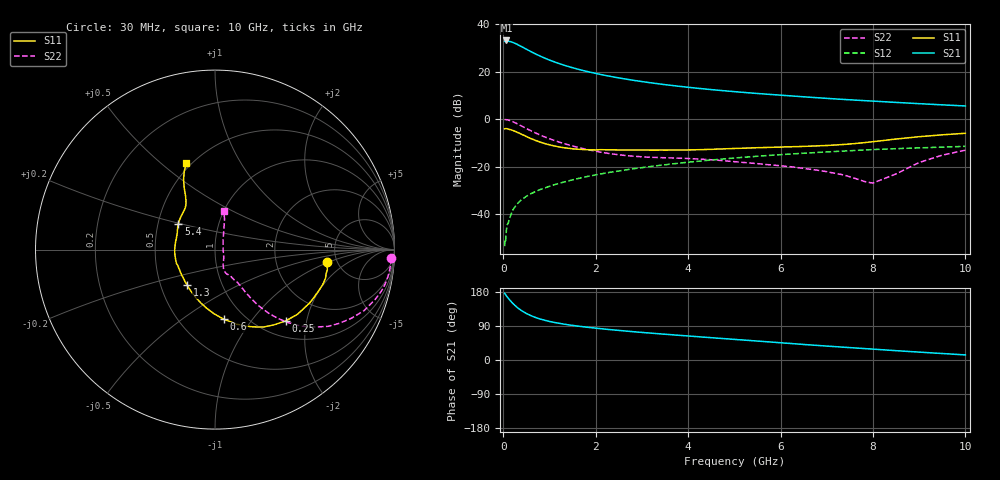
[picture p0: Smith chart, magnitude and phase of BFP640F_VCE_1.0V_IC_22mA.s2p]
! (c) 2013  Infineon Technologies AG, Munich
! Infineon Technologies  Discrete & RF Semiconductors
! BFP640F
! VCE =  1.0 V,  IC =  22 mA
! Common Emitter S-Parameters:  Apr 2013
# GHz  S  MA  R  50
!  f  S11  S21  S12  S22
! GHz  MAG  ANG  MAG  ANG  MAG  ANG  MAG  ANG
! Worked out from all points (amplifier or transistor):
!   99 points, 30 MHz to 10 GHz, reference 50 ohm
!   highest |S21| = 33.3 dB at 70 MHz (marker M1)
!   |S21| within 3 dB of that: start of sweep to 435.4 MHz
!   unconditionally stable (mu >= 1): 2.138 GHz to end of sweep
!   at 350 MHz: K = 0.39, MSG = 32.9 dB, |S12| = -34.8 dB
!   at 3.5 GHz: K = 1.05, MAG = 15.6 dB, |S12| = -19.2 dB
!   at 10 GHz: K = 1.05, MAG = 7.2 dB, |S12| = -11.4 dB
!   S11 on the Smith chart (normalised r, x): 30 MHz: 4.15, -0.95; 250 MHz: 1.31, -1.52; 600 MHz: 0.80, -0.74; 1.3 GHz: 0.68, -0.29; 5.4 GHz: 0.64, +0.19; 10 GHz: 0.47, +0.61
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0.03  0.6282 -6.3  44.16 176.0  0.0021 103.2  0.9801 -2.7
0.05  0.6356 -10.2  45.64 172.9  0.0026 95.8  0.9814 -5.3
0.07  0.6359 -14.3  46 169.3  0.0047 78.7  0.9774 -7.9
0.15  0.6048 -29.6  43.62 157.1  0.0087 79.6  0.935 -17.2
0.2  0.5841 -38.1  42.03 150.3  0.0119 74.3  0.8969 -22.3
0.25  0.5599 -45.1  40.24 144.4  0.014 74.9  0.8509 -26.7
0.3  0.5334 -51.8  38.25 139.0  0.0163 72.1  0.8063 -30.6
0.4  0.4791 -63.9  33.97 130.0  0.0202 69.5  0.716 -37.0
0.5  0.4315 -74.0  30.09 122.8  0.0237 68.0  0.6384 -41.8
0.6  0.391 -82.8  26.77 117.0  0.0269 67.0  0.5709 -45.2
0.7  0.3577 -90.8  23.89 112.2  0.0299 66.5  0.5138 -47.8
0.9  0.307 -105.0  19.49 104.8  0.0356 65.8  0.4231 -51.2
1.1  0.274 -117.1  16.32 99.3  0.0414 65.7  0.3577 -53.1
1.3  0.2519 -128.0  13.99 94.9  0.0469 65.5  0.3095 -54.0
1.7  0.2307 -145.9  10.86 88.2  0.0584 65.0  0.2436 -54.9
2.4  0.2259 -168.1  7.766 79.2  0.0785 62.9  0.1834 -58.7
3.4  0.2238 170.7  5.531 68.9  0.1068 58.8  0.155 -63.0
5.1  0.2436 148.2  3.758 53.5  0.1548 49.7  0.1254 -66.3
5.4  0.2492 145.2  3.561 50.9  0.163 48.0  0.118 -65.7
6.7  0.2723 131.0  2.888 39.3  0.1968 40.0  0.0868 -58.2
8.5  0.3828 116.6  2.268 24.6  0.2397 28.6  0.0703 50.1
10  0.5062 108.4  1.907 13.4  0.2683 19.7  0.2225 77.2
